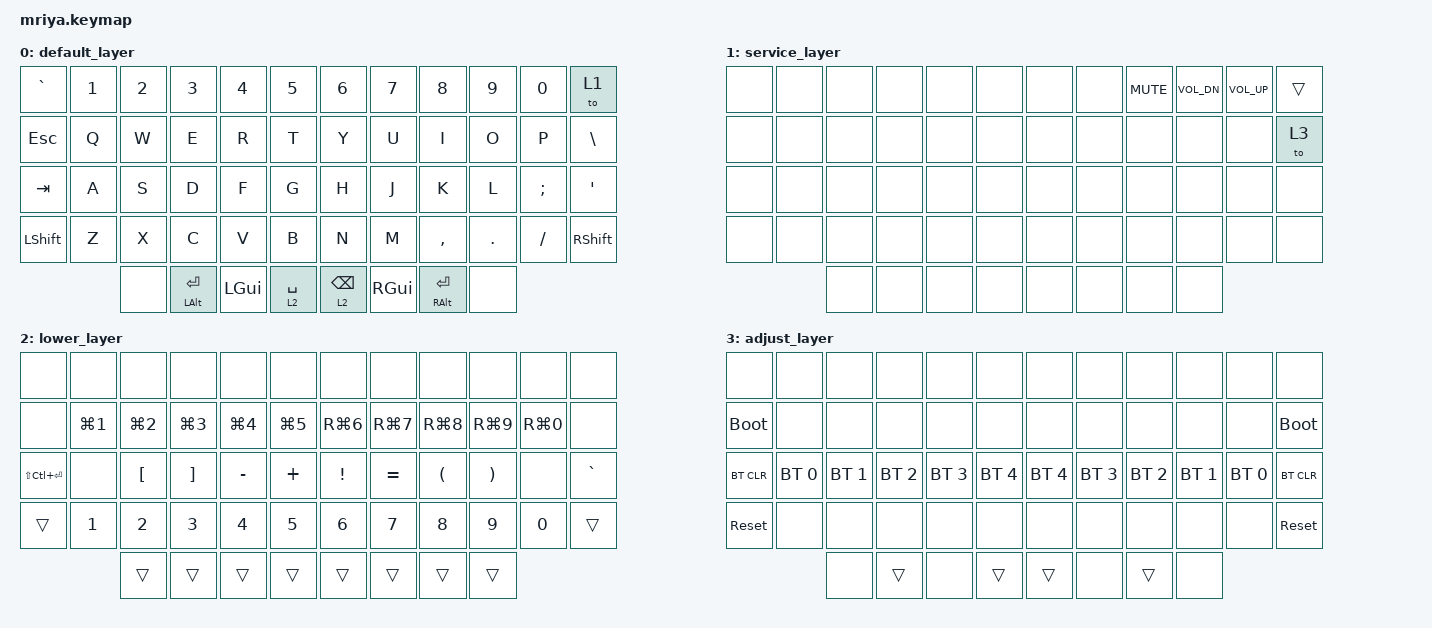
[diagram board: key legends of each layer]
/*
 * Copyright (c) 2023 Andrei Gaevskii
 *
 * SPDX-License-Identifier: MIT
 */

#include <behaviors.dtsi>
#include <dt-bindings/zmk/bt.h>
#include <dt-bindings/zmk/keys.h>

#define DEF 0
#define LWR 1
#define RSE 2
#define ADJ 3

&lt {
    quick_tap_ms = <200>;
};

&mt {
    quick_tap_ms = <200>;
};

/ {
    keymap {
        compatible = "zmk,keymap";

        default_layer {
            bindings = <
  &kp GRAVE   &kp N1  &kp N2  &kp N3        &kp N4    &kp N5         &kp N6      &kp N7    &kp N8        &kp N9   &kp N0    &to 1
  &kp ESC     &kp Q   &kp W   &kp E         &kp R     &kp T          &kp Y       &kp U     &kp I         &kp O    &kp P     &kp BSLH
  &kp TAB     &kp A   &kp S   &kp D         &kp F     &kp G          &kp H       &kp J     &kp K         &kp L    &kp SEMI  &kp SQT
  &kp LSHIFT  &kp Z   &kp X   &kp C         &kp V     &kp B          &kp N       &kp M     &kp COMMA     &kp DOT  &kp FSLH  &kp RSHFT
                      &none   &mt LALT RET  &kp LGUI  &lt 2 SPACE    &lt 2 BSPC  &kp RGUI  &mt RALT RET  &none
            >;
        };

        service_layer {
            bindings = <
  &none  &none  &none  &none  &none  &none    &none  &none  &kp K_MUTE  &kp C_VOL_DN  &kp C_VOL_UP  &trans
  &none  &none  &none  &none  &none  &none    &none  &none  &none       &none         &none         &to 3
  &none  &none  &none  &none  &none  &none    &none  &none  &none       &none         &none         &none
  &none  &none  &none  &none  &none  &none    &none  &none  &none       &none         &none         &none
                &none  &none  &none  &none    &none  &none  &none       &none
            >;
        };

        lower_layer {
            bindings = <
  &none            &none       &none       &none       &none       &none         &none       &none       &none       &none       &none       &none
  &none            &kp LG(N1)  &kp LG(N2)  &kp LG(N3)  &kp LG(N4)  &kp LG(N5)    &kp RG(N6)  &kp RG(N7)  &kp RG(N8)  &kp RG(N9)  &kp RG(N0)  &none
  &kp LS(LC(RET))  &none       &kp LBKT    &kp RBKT    &kp MINUS   &kp PLUS      &kp EXCL    &kp EQUAL   &kp LPAR    &kp RPAR    &none       &kp GRAVE
  &trans           &kp N1      &kp N2      &kp N3      &kp N4      &kp N5        &kp N6      &kp N7      &kp N8      &kp N9      &kp N0      &trans
                               &trans      &trans      &trans      &trans        &trans      &trans      &trans      &trans
            >;
        };

        adjust_layer {
            bindings = <
  &none        &none         &none         &none         &none         &none           &none         &none         &none         &none         &none         &none
  &bootloader  &none         &none         &none         &none         &none           &none         &none         &none         &none         &none         &bootloader
  &bt BT_CLR   &bt BT_SEL 0  &bt BT_SEL 1  &bt BT_SEL 2  &bt BT_SEL 3  &bt BT_SEL 4    &bt BT_SEL 4  &bt BT_SEL 3  &bt BT_SEL 2  &bt BT_SEL 1  &bt BT_SEL 0  &bt BT_CLR
  &sys_reset   &none         &none         &none         &none         &none           &none         &none         &none         &none         &none         &sys_reset
                             &none         &trans        &none         &trans          &trans        &none         &trans        &none
            >;
        };
    };
};
